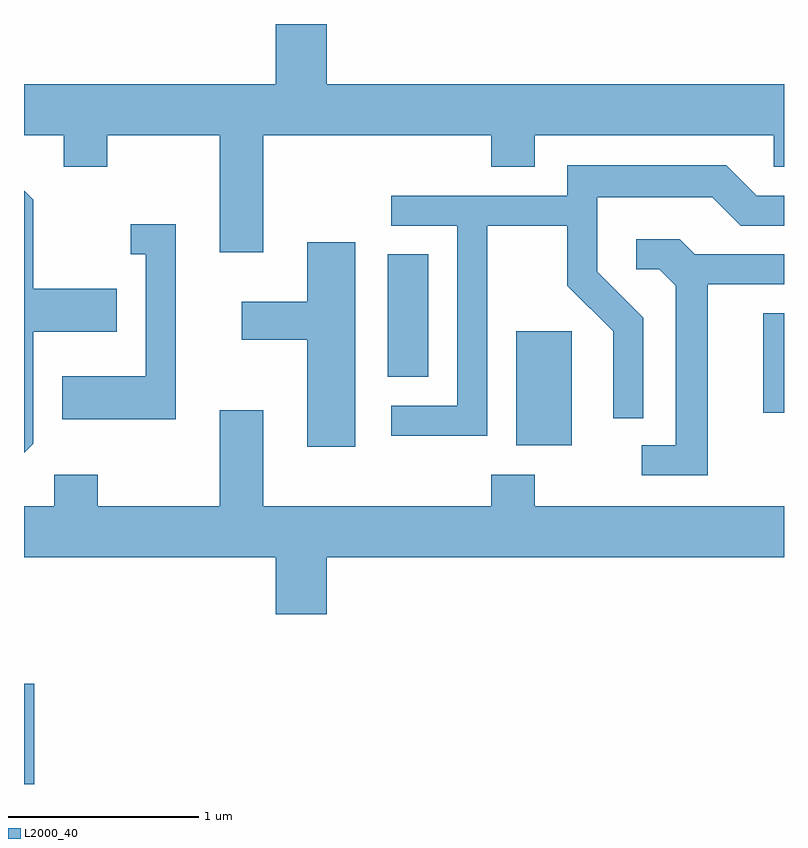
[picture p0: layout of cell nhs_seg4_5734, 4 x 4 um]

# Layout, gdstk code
import gdstk
lib = gdstk.Library(unit=1e-6, precision=1e-09)
def R(c, l, rs):  # rectangles x0, y0, x1, y1
    for r in rs: c.add(gdstk.rectangle(r[:2], r[2:], *l))
def P(c, l, *ps):  # polygons
    for p in ps: c.add(gdstk.Polygon(p, *l))
L2000_40 = (2000, 40)

nhs_seg4_5734 = lib.new_cell('nhs_seg4_5734')
R(nhs_seg4_5734, L2000_40, [(353.611,1297.982,353.664,1298.509), (356.201,1299.766,356.494,1300.364), (357.501,1299.936,357.611,1300.459), (355.526,1300.126,355.739,1300.769)])
P(nhs_seg4_5734, L2000_40, [(354.869,1301.396),(356.071,1301.396),(356.071,1301.231),(356.299,1301.231),(356.299,1301.396),(357.556,1301.396),(357.556,1301.231),(357.611,1301.231),(357.611,1301.664),(355.204,1301.664),(355.204,1301.982),(354.936,1301.982),(354.936,1301.664),(353.611,1301.664),(353.611,1301.396),(353.821,1301.396),(353.821,1301.231),(354.049,1301.231),(354.049,1301.396),(354.641,1301.396),(354.641,1300.781),(354.869,1300.781)],
  [(356.049,1300.921),(356.471,1300.921),(356.471,1300.604),(356.711,1300.364),(356.711,1299.908),(356.869,1299.908),(356.869,1300.437),(356.629,1300.677),(356.629,1301.071),(357.234,1301.071),(357.384,1300.921),(357.611,1300.921),(357.611,1301.079),(357.467,1301.079),(357.307,1301.239),(356.471,1301.239),(356.471,1301.079),(355.543,1301.079),(355.543,1300.921),(355.891,1300.921),(355.891,1299.974),(355.543,1299.974),(355.543,1299.816),(356.049,1299.816)],
  [(353.659,1299.774),(353.659,1300.361),(354.099,1300.361),(354.099,1300.589),(353.659,1300.589),(353.659,1301.057),(353.611,1301.105),(353.611,1299.726)],
  [(354.409,1300.929),(354.173,1300.929),(354.173,1300.771),(354.251,1300.771),(354.251,1300.129),(353.811,1300.129),(353.811,1299.901),(354.409,1299.901)],
  [(357.209,1300.611),(357.611,1300.611),(357.611,1300.769),(357.142,1300.769),(357.062,1300.849),(356.833,1300.849),(356.833,1300.691),(356.954,1300.691),(357.041,1300.604),(357.041,1299.764),(356.863,1299.764),(356.863,1299.606),(357.209,1299.606)],
  [(355.354,1300.834),(355.101,1300.834),(355.101,1300.519),(354.756,1300.519),(354.756,1300.321),(355.101,1300.321),(355.101,1299.756),(355.354,1299.756)],
  [(355.204,1299.176),(357.611,1299.176),(357.611,1299.444),(356.299,1299.444),(356.299,1299.609),(356.071,1299.609),(356.071,1299.444),(354.869,1299.444),(354.869,1299.949),(354.641,1299.949),(354.641,1299.444),(353.999,1299.444),(353.999,1299.609),(353.771,1299.609),(353.771,1299.444),(353.611,1299.444),(353.611,1299.176),(354.936,1299.176),(354.936,1298.876),(355.204,1298.876)])

lib.write_gds('nhs_seg4_5734.gds')
